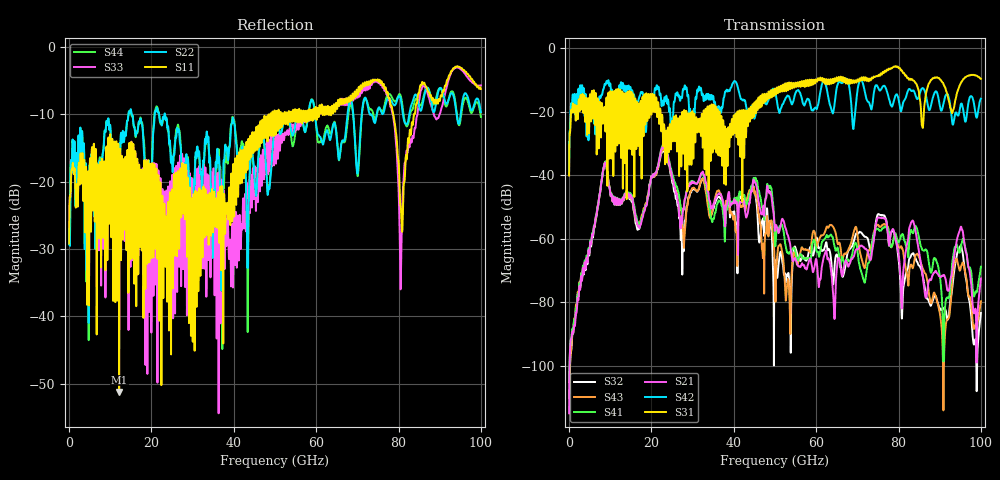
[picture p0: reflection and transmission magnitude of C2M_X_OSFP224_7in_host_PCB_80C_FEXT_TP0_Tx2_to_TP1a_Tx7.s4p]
# GHz S RI R 45
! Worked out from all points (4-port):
!   4000 points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, 25 MHz to 100 GHz, reference 45 ohm
!   strongest paths, dB at 25 MHz, 25.02 GHz, 50.02 GHz, 75.03 GHz, 100 GHz:
!     S31: -40.1, -23.0, -12.9, -8.8, -9.7
!     S42: -38.6, -22.1, -13.7, -12.5, -15.9
!     S21: -114.9, -40.7, -57.5, -53.3, -72.5
!     S41: -104.0, -39.5, -61.2, -56.8, -68.8
!     S43: -110.1, -40.8, -73.3, -55.6, -79.7
!     S32: -105.1, -42.0, -67.9, -52.3, -83.3
!   lowest |S11| = -51.2 dB at 12.18 GHz (marker M1), VSWR 1.01, Z = 45.1 - j0.228 ohm
!   |S11| at or under -10 dB: start of sweep to 48.91 GHz; 48.98 GHz to 49.36 GHz (381.6 MHz wide, 0.776 % of centre); 78.72 GHz to 83.75 GHz (5.027 GHz wide, 6.19 % of centre) (the widest 3 of 31)
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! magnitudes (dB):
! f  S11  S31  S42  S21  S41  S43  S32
! 25 MHz  -29.2  -40.1  -38.6  -114.9  -104.0  -110.1  -105.1
! 8.6 GHz  -17.1  -18.6  -11.6  -36.5  -36.4  -36.4  -36.6
! 12.18 GHz  -51.2  -30.0  -11.8  -47.6  -47.4  -47.6  -47.7
! 23.07 GHz  -23.8  -24.0  -16.5  -31.1  -30.7  -31.9  -32.2
! 53.4 GHz  -9.5  -11.0  -15.2  -60.3  -64.7  -74.8  -72.1
! 75.42 GHz  -4.9  -8.8  -13.4  -53.4  -57.5  -56.2  -52.5
! 100 GHz  -6.2  -9.7  -15.9  -72.5  -68.8  -79.7  -83.3
